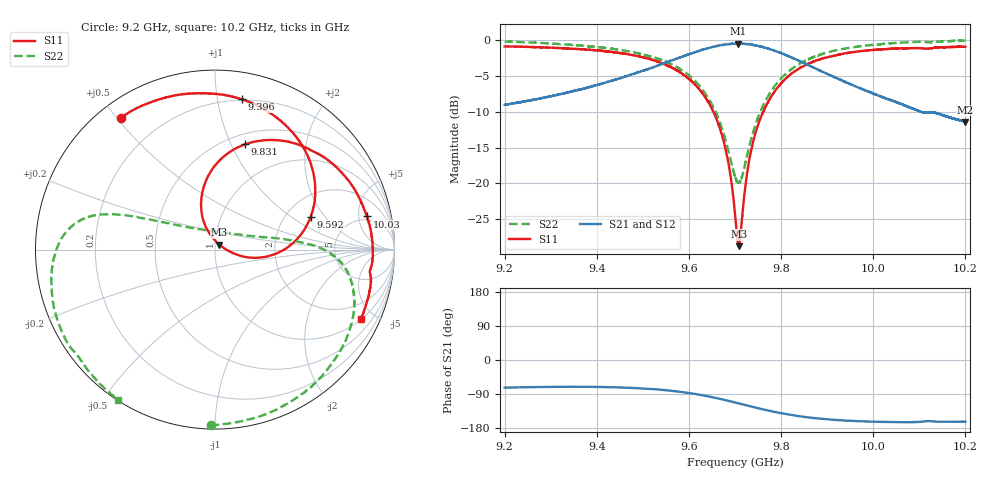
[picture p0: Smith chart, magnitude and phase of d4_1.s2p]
!Agilent Technologies,N5242A,MY51221714,A.09.90.19
!Agilent N5242A: A.09.90.19
!Date: Saturday, March 16, 2024 09:09:55
!Correction: S11(Full 2 Port(1,2))
!S21(Full 2 Port(1,2))
!S12(Full 2 Port(1,2))
!S22(Full 2 Port(1,2))
!S2P File: Measurements: S11, S21, S12, S22:
# Hz S  dB  R 50
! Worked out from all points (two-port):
!   16001 points, 9.2 GHz to 10.2 GHz, reference 50 ohm
!   highest |S21| = -0.48 dB at 9.706 GHz (marker M1); lowest = -11.4 dB at 10.2 GHz (marker M2)
!   |S21| within 3 dB of the highest: 9.53523 GHz to 9.535302 GHz (72.58 kHz wide, 0.000761 % of centre); 9.535 GHz to 9.859 GHz (323.7 MHz wide, 3.34 % of centre)
!   lowest |S11| = -28.8 dB at 9.708 GHz (marker M3), VSWR 1.08, Z = 52.4 + j2.89 ohm
!   |S11| at or under -10 dB: 9.653 GHz to 9.761 GHz (108.3 MHz wide, 1.12 % of centre)
!   |S22| runs from -19.9 to 0.0 dB; largest |S21 - S12| = 0.011
!   S11 on the Smith chart (normalised r, x): 9.2 GHz: 0.06, +0.51; 9.396 GHz: 0.19, +1.18; 9.592 GHz: 2.72, +1.45; 9.831 GHz: 0.61, +1.13; 10.03 GHz: 4.31, +6.42; 10.2 GHz: 1.04, -4.20
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9.2e9  -0.89 125.5  -9.04 -73.0  -9.02 -73.5  -0.18 -91.4
9.277625e9  -1.01 108.1  -8.14 -71.3  -8.12 -71.8  -0.40 -69.9
9.366688e9  -1.27 87.1  -6.85 -70.8  -6.83 -71.3  -0.77 -46.3
9.395562e9  -1.40 79.8  -6.35 -71.0  -6.34 -71.6  -0.95 -38.9
9.533375e9  -3.02 39.9  -3.53 -77.9  -3.52 -78.4  -2.60 -8.8
9.59175e9  -4.99 18.8  -2.17 -85.7  -2.15 -86.2  -4.51 0.5
9.663875e9  -11.73 -9.7  -0.79 -101.6  -0.77 -102.1  -10.90 13.9
9.685188e9  -16.97 -13.6  -0.57 -107.6  -0.57 -108.1  -15.32 28.7
9.7e9  -24.15 0.8  -0.50 -112.0  -0.49 -112.6  -19.12 57.1
9.705875e9  -28.01 30.3  -0.48 -113.9  -0.48 -114.4  -19.86 76.2
9.708188e9  -28.76 49.1  -0.50 -114.6  -0.48 -115.1  -19.91 84.7
9.729562e9  -17.27 112.2  -0.58 -121.1  -0.57 -121.7  -15.23 136.0
9.749375e9  -11.96 107.9  -0.80 -127.0  -0.79 -127.6  -10.91 149.7
9.784562e9  -7.30 93.5  -1.45 -136.6  -1.45 -137.2  -6.56 157.4
9.831062e9  -4.29 74.0  -2.68 -146.8  -2.67 -147.3  -3.67 162.6
9.866688e9  -3.09 60.4  -3.73 -152.6  -3.71 -153.1  -2.47 166.8
9.950438e9  -1.72 33.4  -6.15 -160.5  -6.16 -161.0  -1.06 -179.5
1.002956e10  -1.24 12.3  -8.18 -163.5  -8.18 -164.1  -0.49 -163.3
1.003338e10  -1.24 11.3  -8.28 -163.6  -8.27 -164.1  -0.46 -162.5
1.010569e10  -1.14 -5.9  -10.03 -162.7  -10.04 -163.3  -0.24 -146.4
1.019969e10  -0.93 -25.2  -11.41 -162.7  -11.39 -163.4  -0.06 -122.9
1.02e10  -0.92 -25.3  -11.41 -162.7  -11.39 -163.3  -0.05 -122.8
